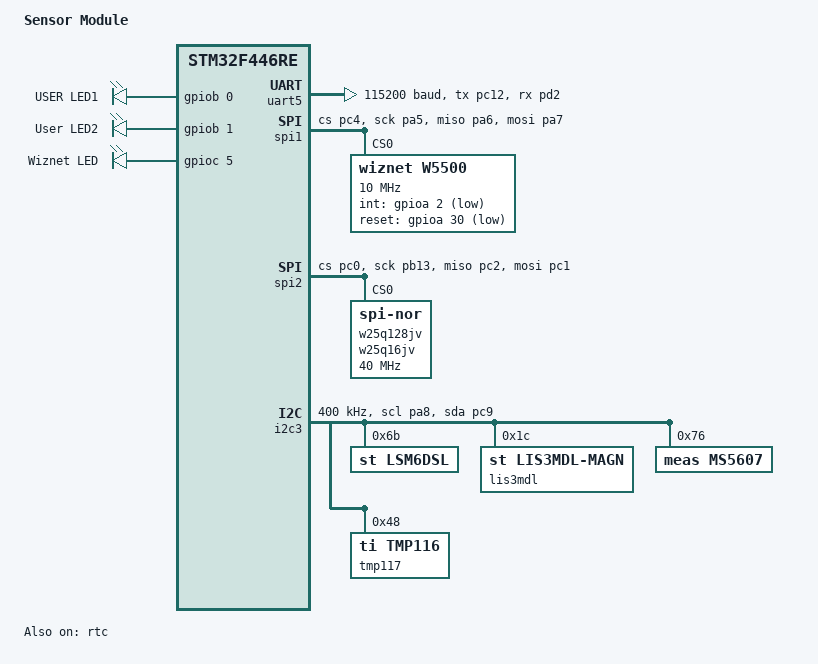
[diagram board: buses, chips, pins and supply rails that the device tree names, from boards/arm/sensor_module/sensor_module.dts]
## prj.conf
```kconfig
# Copyright (c) 2021 Nordic Semiconductor ASA
# SPDX-License-Identifier: Apache-2.0
#
# This file contains selected Kconfig options for the application.

CONFIG_STDOUT_CONSOLE=y
CONFIG_CBPRINTF_FP_SUPPORT=y
CONFIG_I2C=y
CONFIG_SENSOR=y
```

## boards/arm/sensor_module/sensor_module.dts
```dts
/*
 * Copyright (c) 2018 Philémon Jaermann
 *
 * SPDX-License-Identifier: Apache-2.0
 */

/dts-v1/;
#include <st/f4/stm32f446Xe.dtsi>
#include <st/f4/stm32f446r(c-e)tx-pinctrl.dtsi>
#include <zephyr/dt-bindings/input/input-event-codes.h>
#include "sensor_module-pinctrl.dtsi"

/ {
	model = "Sensor Module";
	compatible = "st,stm32f446re-nucleo";

	chosen {
		zephyr,console = &uart5;
		zephyr,shell-uart = &uart5;
		zephyr,sram = &sram0;
		zephyr,flash = &flash0;
	};

	leds: leds {
		compatible = "gpio-leds";
		red_led_1: led_1 {
			gpios = <&gpiob 0 GPIO_ACTIVE_HIGH>;
			label = "USER LED1";
		};

        red_led_2: led_2 {
			gpios = <&gpiob 1 GPIO_ACTIVE_HIGH>;
			label = "User LED2";
		};

        wiz_led: wiz_led {
			gpios = <&gpioc 5 GPIO_ACTIVE_HIGH>;
			label = "Wiznet LED";
		};
	};

	aliases {
		led0 = &red_led_1;
		led1 = &red_led_2;
	};
};

&clk_lsi {
	status = "okay";
};

&clk_hsi {
	clock-frequency = <DT_FREQ_M(16)>;
	status = "okay";
};

//&pll {
//	div-m = <8>;
//	mul-n = <384>;
//	div-p = <2>;
//	div-q = <2>;
//	clocks = <&clk_hsi>;
//	status = "okay";
//};

&rcc {
	clocks = <&clk_hsi>;
	clock-frequency = <DT_FREQ_M(16)>;
	ahb-prescaler = <1>;
	apb1-prescaler = <2>;
	apb2-prescaler = <1>;
};

&uart5 {
	pinctrl-0 = <&uart5_tx_pc12 &uart5_rx_pd2>;
	pinctrl-names = "default";
	current-speed = <115200>;
	status = "okay";
};

&spi1 {
	pinctrl-0 = <&eth_cs_pc4 &spi1_sck_pa5
		     &spi1_miso_pa6 &spi1_mosi_pa7>;
	pinctrl-names = "default";
	status = "okay";

    w5500: w5500@0 {
        compatible = "wiznet,w5500";
        reg = <0x0>;
        spi-max-frequency = <10000000>;
        int-gpios = <&gpioa 2 GPIO_ACTIVE_LOW>;
        reset-gpios = <&gpioa 30 GPIO_ACTIVE_LOW>;
    };
};

&spi2 {
    pinctrl-0 = <&flash_cs_pc0 &spi2_sck_pb13
		     &spi2_miso_pc2 &spi2_mosi_pc1>;
	pinctrl-names = "default";
	status = "okay";


    // TODO CHECK JEDEC
    w25q128jv: w25q16jv@0 {
		compatible = "jedec,spi-nor";
		reg = <0>;
		spi-max-frequency = <40000000>;
		size = <0x1000000>;
		has-dpd;
		t-enter-dpd = <4000>;
		t-exit-dpd = <25000>;
		jedec-id = [ef 40 15];
	};

};


&i2c3 {
	pinctrl-0 = <&i2c3_scl_pa8 &i2c3_sda_pc9>;
	pinctrl-names = "default";
	status = "okay";
	clock-frequency = <I2C_BITRATE_FAST>;

    bmp388: bmp388@76 {
        compatible = "bosch,bmp388";
        reg = <0x76>;
        status = "disabled"; // addr conflict on V1
    };

    lsm6dsl: lsm6dsl@6b {
        compatible = "st,lsm6dsl";
        reg = <0x6b>;
        status = "okay";
    };

    lis3mdl: lis3mdl@1c {
        compatible = "st,lis3mdl-magn";
        reg = <0x1c>;
        status = "okay";
    };

    ms5607: ms5607@76 {
        compatible = "meas,ms5607";
        reg = <0x76>;
        status = "okay";
    };


    tmp117: tmp117@48 {
		compatible = "ti,tmp116"; // TMP117 Compatible
		reg = <0x48>;
		#address-cells = <1>;
		#size-cells = <0>;

		eeprom: ti_tmp116_eeprom@0 {
			compatible = "ti,tmp116-eeprom";
			reg = <0x0>;
			read-only;
		};
	};
};

&rtc {
	clocks = <&rcc STM32_CLOCK_BUS_APB1 0x10000000>,
		 <&rcc STM32_SRC_LSI RTC_SEL(2)>;
	status = "okay";
};

&backup_sram {
	status = "okay";
};

&flash0 {
	partitions {
		compatible = "fixed-partitions";
		#address-cells = <1>;
		#size-cells = <1>;

		boot_partition: partition@0 {
			label = "mcuboot";
			reg = <0x00000000 DT_SIZE_K(64)>;
			read-only;
		};

		/*
		 * The flash starting at 0x00010000 and ending at
		 * 0x0001ffff (sectors 16-31) is reserved for use
		 * by the application.
		 */
		storage_partition: partition@10000 {
			label = "storage";
			reg = <0x00010000 DT_SIZE_K(64)>;
		};

		slot0_partition: partition@20000 {
			label = "image-0";
			reg = <0x00020000 DT_SIZE_K(128)>;
		};
		slot1_partition: partition@40000 {
			label = "image-1";
			reg = <0x00040000 DT_SIZE_K(128)>;
		};
		scratch_partition: partition@60000 {
			label = "image-scratch";
			reg = <0x00060000 DT_SIZE_K(128)>;
		};
	};
};
```

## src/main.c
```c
/*
 * Copyright (c) 2021 Nordic Semiconductor ASA
 * SPDX-License-Identifier: Apache-2.0
 */

#include <app_version.h>
#include <zephyr/drivers/sensor.h>
#include <zephyr/drivers/gpio.h>

#include <zephyr/fs/fs.h>
#include <zephyr/fs/littlefs.h>
#include <zephyr/kernel.h>
#include <zephyr/logging/log.h>
#include <zephyr/net/socket.h>
#include <zephyr/storage/flash_map.h>

LOG_MODULE_REGISTER(main, CONFIG_APP_LOG_LEVEL
);
K_QUEUE_DEFINE(net_tx_queue);

#define STACK_SIZE (2048)
static K_THREAD_STACK_ARRAY_DEFINE(stacks,
2, STACK_SIZE);

#define LED0_NODE DT_ALIAS(led0)
static const struct gpio_dt_spec led0 = GPIO_DT_SPEC_GET(LED0_NODE, gpios);

#define LED1_NODE DT_ALIAS(led1)
static const struct gpio_dt_spec led1 = GPIO_DT_SPEC_GET(LED1_NODE, gpios);

static void network_init() {

}

struct sensor_value accel[3];

uint8_t lsm_initialized = 0;
static void lsm6dsl_task(void *unused0, void *unused1, void *unused2) {
    const struct device *const lsm6dsl_dev = DEVICE_DT_GET_ONE(st_lsm6dsl);

    if (!device_is_ready(lsm6dsl_dev)) {
        LOG_ERR("LSM6DSL device not ready");
        return;
    }
    lsm_initialized = 1;

    while (1) {
        if (sensor_sample_fetch(lsm6dsl_dev) < 0) {
            printk("LSM6DSL sample update error");
        }

        if (sensor_channel_get(lsm6dsl_dev, SENSOR_CHAN_ACCEL_XYZ, accel) < 0) {
            printk("Cannot read LSM6DSL accel channels");
        }

        printk("LSM6DSL: X: %f, Y: %f, Z: %f",
               sensor_value_to_double(&accel[0]),
               sensor_value_to_double(&accel[1]),
               sensor_value_to_double(&accel[2]));

        k_msleep(100);
    }
}

uint8_t lis_initialized = 0;
static void lis3mdl_task() {
    const struct device *const lis3mdl_dev = DEVICE_DT_GET_ONE(st_lis3mdl);
    if (!device_is_ready(lis3mdl_dev)) {
        LOG_ERR("LIS3MDL device not ready");
        return;
    }

    lis_initialized = 1;
}

uint8_t ms_initialized = 0;
static void ms5607_task() {
    const struct device *const ms5607_dev = DEVICE_DT_GET_ONE(meas_ms5607);
    if (!device_is_ready(ms5607_dev)) {
        LOG_ERR("MS5607 device not ready");
        return;
    }

    ms_initialized = 1;

}

uint8_t tmp_initialized = 0;
static void tmp117_task() {
    const struct device *const tmp117_dev = DEVICE_DT_GET_ONE(ti_tmp116);
    if (!device_is_ready(tmp117_dev)) {
        LOG_ERR("TMP117 device not ready");
        return;
    }

    tmp_initialized = 1;

}

static void led_toggle(void *unused0, void *unused1, void *unused2) {

    while (1) {
        uint8_t initialized = (lsm_initialized << 3) | (lis_initialized << 2) | (ms_initialized << 1) | tmp_initialized;

        switch (initialized) {
            case 0b0000:
                gpio_pin_toggle_dt(&led0);
                gpio_pin_toggle_dt(&led1);
                break;
            case 0b0001:
                gpio_pin_toggle_dt(&led0);
                break;
            case 0b0011:
                gpio_pin_toggle_dt(&led1);
                break;
            case 0b0111:
                gpio_pin_set_dt(&led0, 0);
                gpio_pin_set_dt(&led1, 1);
                break;

            case 0b1111:
                gpio_pin_set_dt(&led0, 1);
                gpio_pin_set_dt(&led1, 1);
                break;

        }

        k_msleep(100);
    }
}


static void init(void) {
    // Queues
    k_queue_init(&net_tx_queue);
    network_init();

    // Threads
    struct k_thread led_toggle_thread;
    struct k_thread lsm6dsl_thread;

    k_thread_create(&led_toggle_thread, stacks[0], STACK_SIZE,
                    led_toggle, NULL, NULL, NULL,
                    0, 0, K_NO_WAIT);

    k_thread_create(&lsm6dsl_thread, stacks[1], STACK_SIZE,
                    lsm6dsl_task, NULL, NULL, NULL,
                    0, 0, K_NO_WAIT);

    k_thread_start(&led_toggle_thread);
    k_thread_start(&lsm6dsl_thread);

}

int main() {
    init();

    k_sleep(K_MSEC(5000));

    return 0;
}
```
